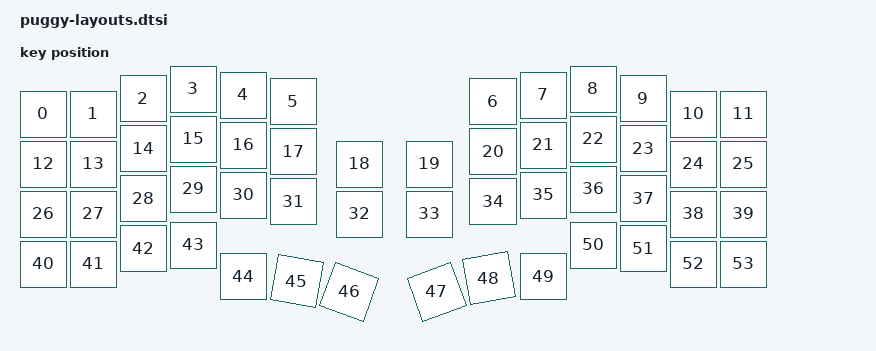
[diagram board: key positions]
#include <physical_layouts.dtsi>

/ {
    default_layout: default_layout {
        compatible = "zmk,physical-layout";
        display-name = "Default Layout";
        transform = <&default_transform>;
        kscan = <&kscan0>;

        keys  //                     w   h    x    y     rot    rx    ry
            = <&key_physical_attrs 100 100    0   50       0     0     0>
            , <&key_physical_attrs 100 100  100   50       0     0     0>
            , <&key_physical_attrs 100 100  200   19       0     0     0>
            , <&key_physical_attrs 100 100  300    0       0     0     0>
            , <&key_physical_attrs 100 100  400   12       0     0     0>
            , <&key_physical_attrs 100 100  500   25       0     0     0>
            , <&key_physical_attrs 100 100  900   25       0     0     0>
            , <&key_physical_attrs 100 100 1000   12       0     0     0>
            , <&key_physical_attrs 100 100 1100    0       0     0     0>
            , <&key_physical_attrs 100 100 1200   19       0     0     0>
            , <&key_physical_attrs 100 100 1300   50       0     0     0>
            , <&key_physical_attrs 100 100 1400   50       0     0     0>
            , <&key_physical_attrs 100 100    0  150       0     0     0>
            , <&key_physical_attrs 100 100  100  150       0     0     0>
            , <&key_physical_attrs 100 100  200  119       0     0     0>
            , <&key_physical_attrs 100 100  300  100       0     0     0>
            , <&key_physical_attrs 100 100  400  112       0     0     0>
            , <&key_physical_attrs 100 100  500  125       0     0     0>
            , <&key_physical_attrs 100 100  633  150       0     0     0>
            , <&key_physical_attrs 100 100  773  150       0     0     0>
            , <&key_physical_attrs 100 100  900  125       0     0     0>
            , <&key_physical_attrs 100 100 1000  112       0     0     0>
            , <&key_physical_attrs 100 100 1100  100       0     0     0>
            , <&key_physical_attrs 100 100 1200  119       0     0     0>
            , <&key_physical_attrs 100 100 1300  150       0     0     0>
            , <&key_physical_attrs 100 100 1400  150       0     0     0>
            , <&key_physical_attrs 100 100    0  250       0     0     0>
            , <&key_physical_attrs 100 100  100  250       0     0     0>
            , <&key_physical_attrs 100 100  200  219       0     0     0>
            , <&key_physical_attrs 100 100  300  200       0     0     0>
            , <&key_physical_attrs 100 100  400  212       0     0     0>
            , <&key_physical_attrs 100 100  500  225       0     0     0>
            , <&key_physical_attrs 100 100  633  250       0     0     0>
            , <&key_physical_attrs 100 100  773  250       0     0     0>
            , <&key_physical_attrs 100 100  900  225       0     0     0>
            , <&key_physical_attrs 100 100 1000  212       0     0     0>
            , <&key_physical_attrs 100 100 1100  200       0     0     0>
            , <&key_physical_attrs 100 100 1200  219       0     0     0>
            , <&key_physical_attrs 100 100 1300  250       0     0     0>
            , <&key_physical_attrs 100 100 1400  250       0     0     0>
            , <&key_physical_attrs 100 100    0  350       0     0     0>
            , <&key_physical_attrs 100 100  100  350       0     0     0>
            , <&key_physical_attrs 100 100  200  319       0     0     0>
            , <&key_physical_attrs 100 100  300  312       0     0     0>
            , <&key_physical_attrs 100 100  400  375       0     0     0>
            , <&key_physical_attrs 100 100  500  375    1000   500   475>
            , <&key_physical_attrs 100 100  633  392    2000   633   392>
            , <&key_physical_attrs 100 100  773  426 (-2000)   773   426>
            , <&key_physical_attrs 100 100  884  388 (-1000)   884   388>
            , <&key_physical_attrs 100 100 1000  375       0     0     0>
            , <&key_physical_attrs 100 100 1100  312       0     0     0>
            , <&key_physical_attrs 100 100 1200  319       0     0     0>
            , <&key_physical_attrs 100 100 1300  350       0     0     0>
            , <&key_physical_attrs 100 100 1400  350       0     0     0>
            ;
    };
};
